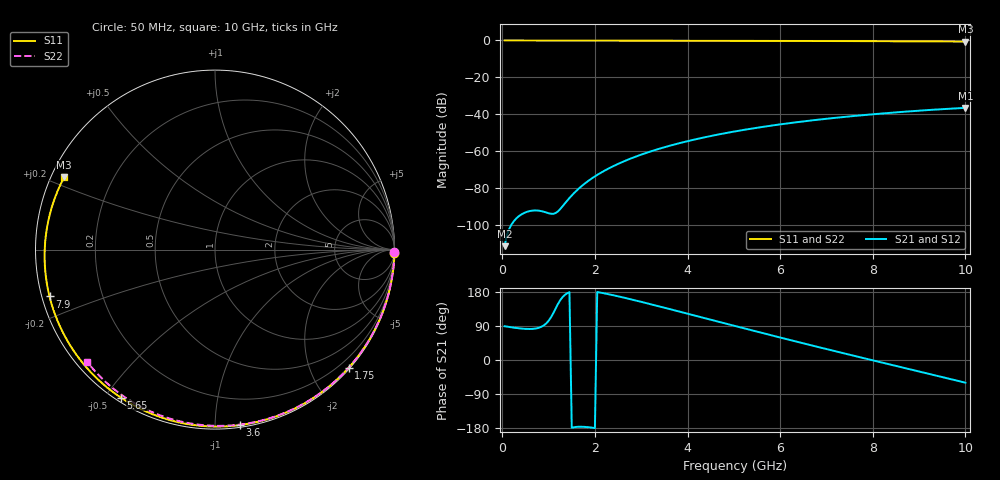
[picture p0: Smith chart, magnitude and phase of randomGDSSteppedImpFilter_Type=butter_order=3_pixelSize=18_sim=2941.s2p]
! freq	dB(S11)	phase(S11)	dB(S12)	phase(S12)
!  dB(S21)	phase(S21)	dB(S22)	phase(S22)
!S-par simulation data
#  GHz  S  DB  R 50
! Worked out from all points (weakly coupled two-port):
!   200 points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, 50 MHz to 10 GHz, reference 50 ohm
!   highest |S21| = -36.59 dB at 10 GHz (marker M1); lowest = -111.7 dB at 50 MHz (marker M2)
!   lowest |S11| = -0.6 dB at 10 GHz (marker M3), VSWR 28.60, Z = 1.84 + j11.3 ohm
!   |S11| at or under -10 dB: nowhere
!   |S22| runs from -0.5 to 0.0 dB; largest |S21 - S12| = 0
!   S11 on the Smith chart (normalised r, x): 50 MHz: 0, -94; 1.75 GHz: 0.02, -2.64; 3.6 GHz: 0.01, -1.15; 5.65 GHz: 0.01, -0.55; 7.9 GHz: 0.02, -0.14; 10 GHz: 0.04, +0.23
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0.05  -0.00 -1.2  -111.66 89.1  -111.66 89.1  -0.00 -0.8
0.4  -0.01 -9.7  -94.62 83.1  -94.62 83.1  -0.01 -6.4
0.8  -0.02 -19.2  -92.43 85.5  -92.43 85.5  -0.02 -12.8
1.2  -0.04 -28.7  -92.81 147.4  -92.81 147.4  -0.02 -19.1
1.65  -0.05 -39.2  -80.43 -176.2  -80.43 -176.2  -0.03 -26.1
1.75  -0.05 -41.5  -78.29 -176.3  -78.29 -176.3  -0.04 -27.7
2.05  -0.06 -48.4  -72.98 179.3  -72.98 179.3  -0.04 -32.3
2.45  -0.07 -57.3  -67.59 169.5  -67.59 169.5  -0.05 -38.4
2.9  -0.09 -67.2  -62.88 156.5  -62.88 156.5  -0.06 -45.2
3.4  -0.10 -77.9  -58.70 141.1  -58.70 141.1  -0.07 -52.6
3.6  -0.11 -82.1  -57.26 134.9  -57.26 134.9  -0.07 -55.5
4.3  -0.13 -96.3  -52.94 112.7  -52.94 112.7  -0.09 -65.6
5.05  -0.17 -111.0  -49.25 89.0  -49.25 89.0  -0.12 -76.1
5.65  -0.20 -122.4  -46.81 70.2  -46.81 70.2  -0.14 -84.2
6.2  -0.23 -132.7  -44.88 53.2  -44.88 53.2  -0.16 -91.5
6.7  -0.27 -142.0  -43.34 37.9  -43.34 37.9  -0.19 -98.0
7.3  -0.32 -153.0  -41.72 19.9  -41.72 19.9  -0.23 -105.6
7.9  -0.37 -164.2  -40.29 2.1  -40.29 2.1  -0.27 -113.1
8.35  -0.42 -172.7  -39.34 -11.1  -39.34 -11.1  -0.30 -118.6
8.8  -0.46 178.7  -38.47 -24.3  -38.47 -24.3  -0.34 -124.1
9.2  -0.51 170.8  -37.77 -36.1  -37.77 -36.1  -0.38 -129.0
10  -0.61 154.4  -36.59 -59.8  -36.59 -59.8  -0.47 -138.6
